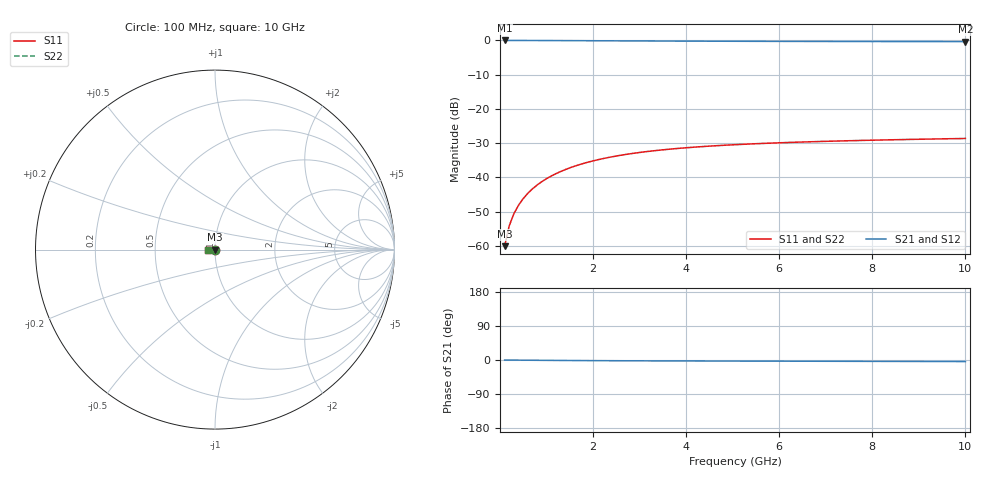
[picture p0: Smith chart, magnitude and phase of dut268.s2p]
! Touchstone file exported from HFSS 2024.1.0
!  File:  C:/UserFiles/LocalFiles/RDL_TSV_Batchsim/temp_TSV1_268_1779392156.aedt
!  Generated:  03:40:44 AM May 22, 2026
!  Design:  TSV1
!  Project:  temp_TSV1_268_1779392156
!  Setup:  Setup1
!  Solution:  Sweep
! Variables:
!  dtsv = 10.16um
!  hbump = 3um
!  htsv = 62.04um
!  lrdl = 252.1521522um
!  p = 40
!  p1 = 47.14um
!  t = 500um
!  trdl = 3um
!  wrdl = 24.89489489um
# GHz S MA R 50.000000
! Terminal data exported
! Port[1] = TSV22_T1
! Port[2] = TSV22_T2
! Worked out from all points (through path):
!   100 points, 100 MHz to 10 GHz, reference 50 ohm
!   highest |S21| = 0.00 dB at 100 MHz (marker M1); lowest = -0.3 dB at 10 GHz (marker M2)
!   lowest |S11| = -60.1 dB at 100 MHz (marker M3), VSWR 1.00, Z = 50 - j0.0982 ohm
!   |S11| at or under -10 dB: start of sweep to end of sweep
!   |S22| runs from -60.1 to -28.6 dB; largest |S21 - S12| = 5.2e-15
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0.1  0.0009866 -84.6  0.9998 -0.1  0.9998 -0.1  0.0009866 -84.6
! Gamma 0 0 0 0
! Port Impedance 50 0 50 0
0.2  0.001965 -89.7  0.9997 -0.2  0.9997 -0.2  0.001965 -89.7
0.3  0.002945 -92.6  0.9996 -0.3  0.9996 -0.3  0.002945 -92.6
0.4  0.003922 -94.9  0.9993 -0.4  0.9993 -0.4  0.003922 -94.9
0.5  0.004892 -97.0  0.9991 -0.5  0.9991 -0.5  0.004892 -97.0
0.6  0.005852 -99.0  0.9987 -0.6  0.9987 -0.6  0.005852 -99.0
0.7  0.006799 -100.9  0.9984 -0.7  0.9984 -0.7  0.006799 -100.9
0.8  0.007732 -102.7  0.9979 -0.8  0.9979 -0.8  0.007732 -102.7
0.9  0.008649 -104.5  0.9975 -0.8  0.9975 -0.8  0.008649 -104.5
1.1  0.01043 -107.9  0.9964 -1.0  0.9964 -1.0  0.01043 -107.9
1.4  0.01295 -112.8  0.9946 -1.3  0.9946 -1.3  0.01295 -112.8
1.6  0.01452 -115.9  0.9933 -1.4  0.9933 -1.4  0.01452 -115.9
1.8  0.016 -118.9  0.9919 -1.5  0.9919 -1.5  0.016 -118.9
2.1  0.01805 -123.1  0.9897 -1.7  0.9897 -1.7  0.01805 -123.1
2.5  0.02048 -128.4  0.9869 -1.9  0.9869 -1.9  0.02048 -128.4
2.9  0.02259 -133.1  0.9842 -2.1  0.9842 -2.1  0.02259 -133.1
3.4  0.02483 -138.5  0.981 -2.3  0.981 -2.3  0.02483 -138.5
4.2  0.02768 -145.9  0.9766 -2.6  0.9766 -2.6  0.02768 -145.9
5.1  0.0301 -152.9  0.9727 -2.9  0.9727 -2.9  0.0301 -152.9
6.7  0.03312 -162.9  0.9676 -3.3  0.9676 -3.3  0.03312 -162.9
8.4  0.03535 -171.3  0.964 -3.7  0.964 -3.7  0.03535 -171.3
10  0.03696 -177.9  0.9616 -4.1  0.9616 -4.1  0.03696 -177.9
